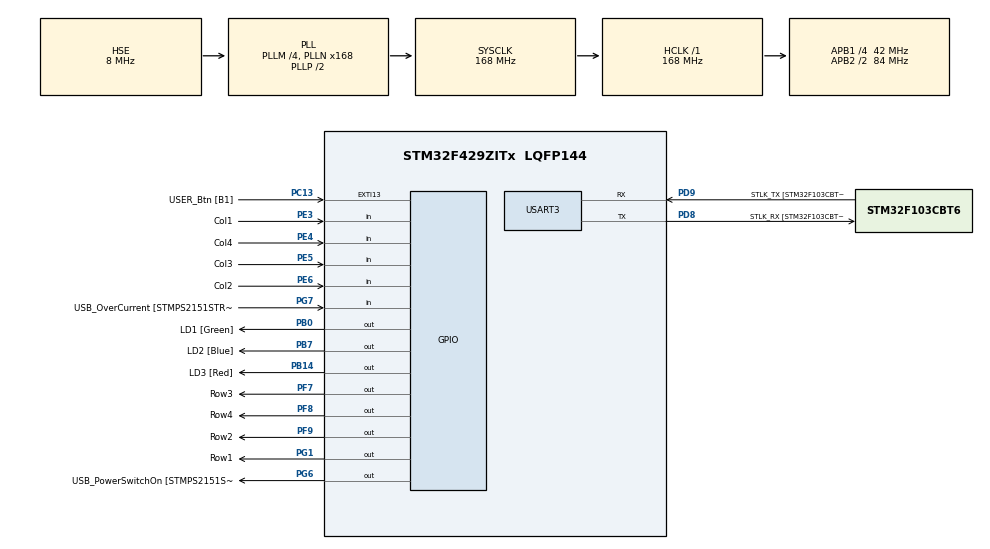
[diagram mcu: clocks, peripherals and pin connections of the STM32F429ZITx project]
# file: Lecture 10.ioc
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Mcu.Family=STM32F4
Mcu.Name=STM32F429ZITx
Mcu.Package=LQFP144
NVIC.PriorityGroup=NVIC_PRIORITYGROUP_4
NVIC.TIM3_IRQn=true\:0\:0\:false\:false\:true\:true\:true\:true
PA1.GPIO_Label=RMII_REF_CLK [LAN8742A-CZ-TR_REFCLK0]
PA1.Signal=ETH_REF_CLK
PA10.GPIO_Label=USB_ID
PA10.Signal=USB_OTG_FS_ID
PA11.GPIO_Label=USB_DM
PA11.Signal=USB_OTG_FS_DM
PA12.GPIO_Label=USB_DP
PA12.Signal=USB_OTG_FS_DP
PA13.GPIO_Label=TMS
PA13.Mode=Serial_Wire
PA13.Signal=SYS_JTMS-SWDIO
PA14.GPIO_Label=TCK
PA14.Mode=Serial_Wire
PA14.Signal=SYS_JTCK-SWCLK
PA2.GPIO_Label=RMII_MDIO [LAN8742A-CZ-TR_MDIO]
PA2.Signal=ETH_MDIO
PA7.GPIO_Label=RMII_CRS_DV [LAN8742A-CZ-TR_CRS_DV]
PA7.Signal=ETH_CRS_DV
PA8.GPIO_Label=USB_SOF [TP1]
PA8.Signal=USB_OTG_FS_SOF
PA9.GPIO_Label=USB_VBUS
PA9.Signal=USB_OTG_FS_VBUS
PB0.GPIO_Label=LD1 [Green]
PB0.Signal=GPIO_Output
PB13.GPIO_Label=RMII_TXD1 [LAN8742A-CZ-TR_TXD1]
PB13.Signal=ETH_TXD1
PB14.GPIO_Label=LD3 [Red]
PB14.Signal=GPIO_Output
PB7.GPIO_Label=LD2 [Blue]
PB7.Signal=GPIO_Output
PC1.GPIO_Label=RMII_MDC [LAN8742A-CZ-TR_MDC]
PC1.Signal=ETH_MDC
PC13.GPIO_Label=USER_Btn [B1]
PC13.Signal=GPXTI13
PC14/OSC32_IN.Mode=LSE-External-Oscillator
PC14/OSC32_IN.Signal=RCC_OSC32_IN
PC15/OSC32_OUT.Mode=LSE-External-Oscillator
PC15/OSC32_OUT.Signal=RCC_OSC32_OUT
PC4.GPIO_Label=RMII_RXD0 [LAN8742A-CZ-TR_RXD0]
PC4.Signal=ETH_RXD0
PC5.GPIO_Label=RMII_RXD1 [LAN8742A-CZ-TR_RXD1]
PC5.Signal=ETH_RXD1
PD8.GPIO_Label=STLK_RX [STM32F103CBT6_PA3]
PD8.Mode=Asynchronous
PD8.Signal=USART3_TX
PD9.GPIO_Label=STLK_TX [STM32F103CBT6_PA2]
PD9.Mode=Asynchronous
PD9.Signal=USART3_RX
PE3.GPIO_Label=Col1
PE3.GPIO_PuPd=GPIO_PULLUP
PE3.Signal=GPIO_Input
PE4.GPIO_Label=Col4
PE4.GPIO_PuPd=GPIO_PULLUP
PE4.Signal=GPIO_Input
PE5.GPIO_Label=Col3
PE5.GPIO_PuPd=GPIO_PULLUP
PE5.Signal=GPIO_Input
PE6.GPIO_Label=Col2
PE6.GPIO_PuPd=GPIO_PULLUP
PE6.Signal=GPIO_Input
PF7.GPIO_Label=Row3
PF7.GPIO_ModeDefaultOutputPP=GPIO_MODE_OUTPUT_OD
PF7.GPIO_PuPd=GPIO_NOPULL
PF7.Signal=GPIO_Output
PF8.GPIO_Label=Row4
PF8.GPIO_ModeDefaultOutputPP=GPIO_MODE_OUTPUT_OD
PF8.GPIO_PuPd=GPIO_NOPULL
PF8.Signal=GPIO_Output
PF9.GPIO_Label=Row2
PF9.GPIO_ModeDefaultOutputPP=GPIO_MODE_OUTPUT_OD
PF9.GPIO_PuPd=GPIO_NOPULL
PF9.Signal=GPIO_Output
PG1.GPIO_Label=Row1
PG1.GPIO_ModeDefaultOutputPP=GPIO_MODE_OUTPUT_OD
PG1.GPIO_PuPd=GPIO_NOPULL
PG1.Signal=GPIO_Output
PG11.GPIO_Label=RMII_TX_EN [LAN8742A-CZ-TR_TXEN]
PG11.Signal=ETH_TX_EN
PG13.GPIO_Label=RMII_TXD0 [LAN8742A-CZ-TR_TXD0]
PG13.Signal=ETH_TXD0
PG6.GPIO_Label=USB_PowerSwitchOn [STMPS2151STR_EN]
PG6.Signal=GPIO_Output
PG7.GPIO_Label=USB_OverCurrent [STMPS2151STR_FAULT]
PG7.Signal=GPIO_Input
PH0/OSC_IN.GPIO_Label=MCO [STM32F103CBT6_PA8]
PH0/OSC_IN.Mode=HSE-External-Clock-Source
PH0/OSC_IN.Signal=RCC_OSC_IN
PH1/OSC_OUT.Mode=HSE-External-Clock-Source
PH1/OSC_OUT.Signal=RCC_OSC_OUT
ProjectManager.HeapSize=0x200
ProjectManager.StackSize=0x400
ProjectManager.TargetToolchain=STM32CubeIDE
RCC.48MHZClocksFreq_Value=48000000
RCC.AHBFreq_Value=168000000
RCC.APB1CLKDivider=RCC_HCLK_DIV4
RCC.APB1Freq_Value=42000000
RCC.APB1TimFreq_Value=84000000
RCC.APB2CLKDivider=RCC_HCLK_DIV2
RCC.APB2Freq_Value=84000000
RCC.APB2TimCLKDivider=2
RCC.APB2TimFreq_Value=168000000
RCC.CortexFreq_Value=168000000
RCC.HCLKFreq_Value=168000000
RCC.HSE_VALUE=8000000
RCC.HSI_VALUE=16000000
RCC.PLLM=4
RCC.PLLMUL=RCC_PLL_MUL9
RCC.PLLN=168
RCC.PLLQ=7
RCC.PLLSourceVirtual=RCC_PLLSOURCE_HSE
RCC.PRESCALERUSB=RCC_USBCLKSOURCE_PLL_DIV1_5
RCC.SYSCLKFreq_VALUE=168000000
RCC.SYSCLKSource=RCC_SYSCLKSOURCE_PLLCLK
RCC.SYSCLKSourceVirtual=RCC_SYSCLKSOURCE_PLLCLK
RCC.USBFreq_Value=48000000
RCC.VCOOutputFreq_Value=336000000
TIM3.AutoReloadPreload=TIM_AUTORELOAD_PRELOAD_ENABLE
TIM3.Period=99
TIM3.Prescaler=8399
USART3.VirtualMode=VM_ASYNC
VP_TIM3_VS_ClockSourceINT.Mode=Internal
board=NUCLEO-F429ZI

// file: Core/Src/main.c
/* USER CODE BEGIN Header */
/**
  ******************************************************************************
  * @file           : main.c
  * @brief          : Main program body
  ******************************************************************************
  * @attention
  *
  * Copyright (c) 2024 STMicroelectronics.
  * All rights reserved.
  *
  * This software is licensed under terms that can be found in the LICENSE file
  * in the root directory of this software component.
  * If no LICENSE file comes with this software, it is provided AS-IS.
  *
  ******************************************************************************
  */
/* USER CODE END Header */
#include "main.h"

/* USER CODE BEGIN Includes */
#include <stdio.h>
/* USER CODE END Includes */

TIM_HandleTypeDef htim3;

UART_HandleTypeDef huart3;

/* USER CODE BEGIN PV */
static volatile char key;
/* USER CODE END PV */

void SystemClock_Config(void);
static void MX_GPIO_Init(void);
static void MX_USART3_UART_Init(void);
static void MX_TIM3_Init(void);

/* USER CODE BEGIN 0 */
int __io_putchar(int ch)
{
	ITM_SendChar(ch);
	return 0;
}

void HAL_TIM_PeriodElapsedCallback(TIM_HandleTypeDef *htim)
{
	static uint8_t row = 0;
	static const char keyboard[4][4] = {
			{ '1', '2', '3', 'A' },
			{ '4', '5', '6', 'B' },
			{ '7', '8', '9', 'C' },
			{ '*', '0', '#', 'D' },
	};

	if (key == 0) {
		if (HAL_GPIO_ReadPin(Col1_GPIO_Port, Col1_Pin) == GPIO_PIN_RESET) key = keyboard[row][0];
		if (HAL_GPIO_ReadPin(Col2_GPIO_Port, Col2_Pin) == GPIO_PIN_RESET) key = keyboard[row][1];
		if (HAL_GPIO_ReadPin(Col3_GPIO_Port, Col3_Pin) == GPIO_PIN_RESET) key = keyboard[row][2];
		if (HAL_GPIO_ReadPin(Col4_GPIO_Port, Col4_Pin) == GPIO_PIN_RESET) key = keyboard[row][3];
	}

	HAL_GPIO_WritePin(Row1_GPIO_Port, Row1_Pin, GPIO_PIN_SET);
	HAL_GPIO_WritePin(Row2_GPIO_Port, Row2_Pin, GPIO_PIN_SET);
	HAL_GPIO_WritePin(Row3_GPIO_Port, Row3_Pin, GPIO_PIN_SET);
	HAL_GPIO_WritePin(Row4_GPIO_Port, Row4_Pin, GPIO_PIN_SET);

	switch (row) {
		case 0: row = 1; HAL_GPIO_WritePin(Row2_GPIO_Port, Row2_Pin, GPIO_PIN_RESET); break;
		case 1: row = 2; HAL_GPIO_WritePin(Row3_GPIO_Port, Row3_Pin, GPIO_PIN_RESET); break;
		case 2: row = 3; HAL_GPIO_WritePin(Row4_GPIO_Port, Row4_Pin, GPIO_PIN_RESET); break;
		case 3: row = 0; HAL_GPIO_WritePin(Row1_GPIO_Port, Row1_Pin, GPIO_PIN_RESET); break;
	}
}

/* USER CODE END 0 */

int main(void)
{

  /* MCU Configuration--------------------------------------------------------*/

  /* Reset of all peripherals, Initializes the Flash interface and the Systick. */
  HAL_Init();

  /* Configure the system clock */
  SystemClock_Config();

  /* Initialize all configured peripherals */
  MX_GPIO_Init();
  MX_USART3_UART_Init();
  MX_TIM3_Init();
  /* USER CODE BEGIN 2 */
  HAL_TIM_Base_Start_IT(&htim3);

  const char password[5] = {'7', '9', '3', '2', '#'};
  uint8_t pass_check = 0;

  uint8_t KeyTick = 0;

  /* USER CODE END 2 */

  /* Infinite loop */
  /* USER CODE BEGIN WHILE */
  while (1)
  {
	 // Tick = HAL_GetTick();
	  if (key != 0) {

		  printf("Stisknuto '%c'\n", key);
		  KeyTick = HAL_GetTick();

		  if (key == password[pass_check]) {
			  pass_check++;

			  if (pass_check > 4) {
				  printf("Potvrzeno \n");
				  pass_check = 0;
				  HAL_GPIO_WritePin(LD3_GPIO_Port, LD3_Pin, 1);
				  HAL_Delay(1000);
				  HAL_GPIO_WritePin(LD3_GPIO_Port, LD3_Pin, 0);
			  }
		  } else {
			  pass_check = 0;
			  printf("Invalid \n");

		  }

		  HAL_Delay(500);
		  key = 0;

	  }

	  if ((HAL_GetTick() > KeyTick+5000) && pass_check != 0) {
		  printf("Timeout \n");
		  pass_check = 0;
  	  }

    /* USER CODE END WHILE */

  }
}

void SystemClock_Config(void)
{
  RCC_OscInitTypeDef RCC_OscInitStruct = {0};
  RCC_ClkInitTypeDef RCC_ClkInitStruct = {0};

  /** Configure the main internal regulator output voltage
  */
  __HAL_RCC_PWR_CLK_ENABLE();
  __HAL_PWR_VOLTAGESCALING_CONFIG(PWR_REGULATOR_VOLTAGE_SCALE1);

  /** Initializes the RCC Oscillators according to the specified parameters
  * in the RCC_OscInitTypeDef structure.
  */
  RCC_OscInitStruct.OscillatorType = RCC_OSCILLATORTYPE_HSE;
  RCC_OscInitStruct.HSEState = RCC_HSE_BYPASS;
  RCC_OscInitStruct.PLL.PLLState = RCC_PLL_ON;
  RCC_OscInitStruct.PLL.PLLSource = RCC_PLLSOURCE_HSE;
  RCC_OscInitStruct.PLL.PLLM = 4;
  RCC_OscInitStruct.PLL.PLLN = 168;
  RCC_OscInitStruct.PLL.PLLP = RCC_PLLP_DIV2;
  RCC_OscInitStruct.PLL.PLLQ = 7;
  if (HAL_RCC_OscConfig(&RCC_OscInitStruct) != HAL_OK)
  {
    Error_Handler();
  }

  /** Initializes the CPU, AHB and APB buses clocks
  */
  RCC_ClkInitStruct.ClockType = RCC_CLOCKTYPE_HCLK|RCC_CLOCKTYPE_SYSCLK
                              |RCC_CLOCKTYPE_PCLK1|RCC_CLOCKTYPE_PCLK2;
  RCC_ClkInitStruct.SYSCLKSource = RCC_SYSCLKSOURCE_PLLCLK;
  RCC_ClkInitStruct.AHBCLKDivider = RCC_SYSCLK_DIV1;
  RCC_ClkInitStruct.APB1CLKDivider = RCC_HCLK_DIV4;
  RCC_ClkInitStruct.APB2CLKDivider = RCC_HCLK_DIV2;

  if (HAL_RCC_ClockConfig(&RCC_ClkInitStruct, FLASH_LATENCY_5) != HAL_OK)
  {
    Error_Handler();
  }
}

static void MX_TIM3_Init(void)
{

  TIM_ClockConfigTypeDef sClockSourceConfig = {0};
  TIM_MasterConfigTypeDef sMasterConfig = {0};

  htim3.Instance = TIM3;
  htim3.Init.Prescaler = 8399;
  htim3.Init.CounterMode = TIM_COUNTERMODE_UP;
  htim3.Init.Period = 99;
  htim3.Init.ClockDivision = TIM_CLOCKDIVISION_DIV1;
  htim3.Init.AutoReloadPreload = TIM_AUTORELOAD_PRELOAD_ENABLE;
  if (HAL_TIM_Base_Init(&htim3) != HAL_OK)
  {
    Error_Handler();
  }
  sClockSourceConfig.ClockSource = TIM_CLOCKSOURCE_INTERNAL;
  if (HAL_TIM_ConfigClockSource(&htim3, &sClockSourceConfig) != HAL_OK)
  {
    Error_Handler();
  }
  sMasterConfig.MasterOutputTrigger = TIM_TRGO_RESET;
  sMasterConfig.MasterSlaveMode = TIM_MASTERSLAVEMODE_DISABLE;
  if (HAL_TIMEx_MasterConfigSynchronization(&htim3, &sMasterConfig) != HAL_OK)
  {
    Error_Handler();
  }

}

static void MX_USART3_UART_Init(void)
{

  huart3.Instance = USART3;
  huart3.Init.BaudRate = 115200;
  huart3.Init.WordLength = UART_WORDLENGTH_8B;
  huart3.Init.StopBits = UART_STOPBITS_1;
  huart3.Init.Parity = UART_PARITY_NONE;
  huart3.Init.Mode = UART_MODE_TX_RX;
  huart3.Init.HwFlowCtl = UART_HWCONTROL_NONE;
  huart3.Init.OverSampling = UART_OVERSAMPLING_16;
  if (HAL_UART_Init(&huart3) != HAL_OK)
  {
    Error_Handler();
  }

}

static void MX_GPIO_Init(void)
{
  GPIO_InitTypeDef GPIO_InitStruct = {0};

  /* GPIO Ports Clock Enable */
  __HAL_RCC_GPIOE_CLK_ENABLE();
  __HAL_RCC_GPIOC_CLK_ENABLE();
  __HAL_RCC_GPIOF_CLK_ENABLE();
  __HAL_RCC_GPIOH_CLK_ENABLE();
  __HAL_RCC_GPIOA_CLK_ENABLE();
  __HAL_RCC_GPIOB_CLK_ENABLE();
  __HAL_RCC_GPIOG_CLK_ENABLE();
  __HAL_RCC_GPIOD_CLK_ENABLE();

  /*Configure GPIO pin Output Level */
  HAL_GPIO_WritePin(GPIOF, Row3_Pin|Row4_Pin|Row2_Pin, GPIO_PIN_RESET);

  /*Configure GPIO pin Output Level */
  HAL_GPIO_WritePin(GPIOB, LD1_Pin|LD3_Pin|LD2_Pin, GPIO_PIN_RESET);

  /*Configure GPIO pin Output Level */
  HAL_GPIO_WritePin(GPIOG, Row1_Pin|USB_PowerSwitchOn_Pin, GPIO_PIN_RESET);

  /*Configure GPIO pins : Col1_Pin Col4_Pin Col3_Pin Col2_Pin */
  GPIO_InitStruct.Pin = Col1_Pin|Col4_Pin|Col3_Pin|Col2_Pin;
  GPIO_InitStruct.Mode = GPIO_MODE_INPUT;
  GPIO_InitStruct.Pull = GPIO_PULLUP;
  HAL_GPIO_Init(GPIOE, &GPIO_InitStruct);

  /*Configure GPIO pin : USER_Btn_Pin */
  GPIO_InitStruct.Pin = USER_Btn_Pin;
  GPIO_InitStruct.Mode = GPIO_MODE_IT_RISING;
  GPIO_InitStruct.Pull = GPIO_NOPULL;
  HAL_GPIO_Init(USER_Btn_GPIO_Port, &GPIO_InitStruct);

  /*Configure GPIO pins : Row3_Pin Row4_Pin Row2_Pin */
  GPIO_InitStruct.Pin = Row3_Pin|Row4_Pin|Row2_Pin;
  GPIO_InitStruct.Mode = GPIO_MODE_OUTPUT_OD;
  GPIO_InitStruct.Pull = GPIO_NOPULL;
  GPIO_InitStruct.Speed = GPIO_SPEED_FREQ_LOW;
  HAL_GPIO_Init(GPIOF, &GPIO_InitStruct);

  /*Configure GPIO pins : RMII_MDC_Pin RMII_RXD0_Pin RMII_RXD1_Pin */
  GPIO_InitStruct.Pin = RMII_MDC_Pin|RMII_RXD0_Pin|RMII_RXD1_Pin;
  GPIO_InitStruct.Mode = GPIO_MODE_AF_PP;
  GPIO_InitStruct.Pull = GPIO_NOPULL;
  GPIO_InitStruct.Speed = GPIO_SPEED_FREQ_VERY_HIGH;
  GPIO_InitStruct.Alternate = GPIO_AF11_ETH;
  HAL_GPIO_Init(GPIOC, &GPIO_InitStruct);

  /*Configure GPIO pins : RMII_REF_CLK_Pin RMII_MDIO_Pin RMII_CRS_DV_Pin */
  GPIO_InitStruct.Pin = RMII_REF_CLK_Pin|RMII_MDIO_Pin|RMII_CRS_DV_Pin;
  GPIO_InitStruct.Mode = GPIO_MODE_AF_PP;
  GPIO_InitStruct.Pull = GPIO_NOPULL;
  GPIO_InitStruct.Speed = GPIO_SPEED_FREQ_VERY_HIGH;
  GPIO_InitStruct.Alternate = GPIO_AF11_ETH;
  HAL_GPIO_Init(GPIOA, &GPIO_InitStruct);

  /*Configure GPIO pins : LD1_Pin LD3_Pin LD2_Pin */
  GPIO_InitStruct.Pin = LD1_Pin|LD3_Pin|LD2_Pin;
  GPIO_InitStruct.Mode = GPIO_MODE_OUTPUT_PP;
  GPIO_InitStruct.Pull = GPIO_NOPULL;
  GPIO_InitStruct.Speed = GPIO_SPEED_FREQ_LOW;
  HAL_GPIO_Init(GPIOB, &GPIO_InitStruct);

  /*Configure GPIO pin : Row1_Pin */
  GPIO_InitStruct.Pin = Row1_Pin;
  GPIO_InitStruct.Mode = GPIO_MODE_OUTPUT_OD;
  GPIO_InitStruct.Pull = GPIO_NOPULL;
  GPIO_InitStruct.Speed = GPIO_SPEED_FREQ_LOW;
  HAL_GPIO_Init(Row1_GPIO_Port, &GPIO_InitStruct);

  /*Configure GPIO pin : RMII_TXD1_Pin */
  GPIO_InitStruct.Pin = RMII_TXD1_Pin;
  GPIO_InitStruct.Mode = GPIO_MODE_AF_PP;
  GPIO_InitStruct.Pull = GPIO_NOPULL;
  GPIO_InitStruct.Speed = GPIO_SPEED_FREQ_VERY_HIGH;
  GPIO_InitStruct.Alternate = GPIO_AF11_ETH;
  HAL_GPIO_Init(RMII_TXD1_GPIO_Port, &GPIO_InitStruct);

  /*Configure GPIO pin : USB_PowerSwitchOn_Pin */
  GPIO_InitStruct.Pin = USB_PowerSwitchOn_Pin;
  GPIO_InitStruct.Mode = GPIO_MODE_OUTPUT_PP;
  GPIO_InitStruct.Pull = GPIO_NOPULL;
  GPIO_InitStruct.Speed = GPIO_SPEED_FREQ_LOW;
  HAL_GPIO_Init(USB_PowerSwitchOn_GPIO_Port, &GPIO_InitStruct);

  /*Configure GPIO pin : USB_OverCurrent_Pin */
  GPIO_InitStruct.Pin = USB_OverCurrent_Pin;
  GPIO_InitStruct.Mode = GPIO_MODE_INPUT;
  GPIO_InitStruct.Pull = GPIO_NOPULL;
  HAL_GPIO_Init(USB_OverCurrent_GPIO_Port, &GPIO_InitStruct);

  /*Configure GPIO pins : USB_SOF_Pin USB_ID_Pin USB_DM_Pin USB_DP_Pin */
  GPIO_InitStruct.Pin = USB_SOF_Pin|USB_ID_Pin|USB_DM_Pin|USB_DP_Pin;
  GPIO_InitStruct.Mode = GPIO_MODE_AF_PP;
  GPIO_InitStruct.Pull = GPIO_NOPULL;
  GPIO_InitStruct.Speed = GPIO_SPEED_FREQ_VERY_HIGH;
  GPIO_InitStruct.Alternate = GPIO_AF10_OTG_FS;
  HAL_GPIO_Init(GPIOA, &GPIO_InitStruct);

  /*Configure GPIO pin : USB_VBUS_Pin */
  GPIO_InitStruct.Pin = USB_VBUS_Pin;
  GPIO_InitStruct.Mode = GPIO_MODE_INPUT;
  GPIO_InitStruct.Pull = GPIO_NOPULL;
  HAL_GPIO_Init(USB_VBUS_GPIO_Port, &GPIO_InitStruct);

  /*Configure GPIO pins : RMII_TX_EN_Pin RMII_TXD0_Pin */
  GPIO_InitStruct.Pin = RMII_TX_EN_Pin|RMII_TXD0_Pin;
  GPIO_InitStruct.Mode = GPIO_MODE_AF_PP;
  GPIO_InitStruct.Pull = GPIO_NOPULL;
  GPIO_InitStruct.Speed = GPIO_SPEED_FREQ_VERY_HIGH;
  GPIO_InitStruct.Alternate = GPIO_AF11_ETH;
  HAL_GPIO_Init(GPIOG, &GPIO_InitStruct);

}

void Error_Handler(void)
{
  __disable_irq();
  while (1)
  {
  }
}
